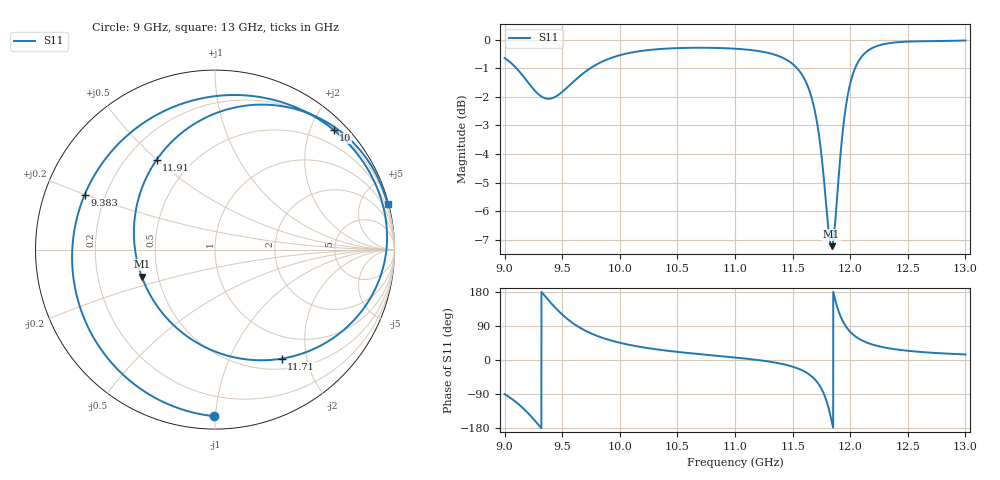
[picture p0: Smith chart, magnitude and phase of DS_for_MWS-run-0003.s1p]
! TOUCHSTONE file generated by CST DESIGN STUDIO
! Date and time: Tue Feb  4 14:19:19 2025
! Project name: C:\Work\MatlabApps\UnitCellOptimizationMatlab\CST\unitcell.cst
! Tree item: Tasks\Sweep1\SPara1\S-Parameters
! Header version: 2024
! Port assignment regex: !\s*Touchstone port\s*([0-9]+)\s*=\s*(CST MWS port|CST DES external port|CST DES block port)\s*(.+)\s* \(\"(.*)\"\)(\s*mode\s*([0-9]+))?.*
! Touchstone port assignment:
! Touchstone port 1 = CST DES external port 1 ("")
# GHz S MA R 50
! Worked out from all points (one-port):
!   4001 points, 9 GHz to 13 GHz, reference 50 ohm
!   lowest |S11| = -7.2 dB at 11.84 GHz (marker M1), VSWR 2.54, Z = 20.2 - j7.48 ohm
!   |S11| at or under -10 dB: nowhere
!   S11 on the Smith chart (normalised r, x): 9 GHz: 0.07, -0.99; 9.383 GHz: 0.12, +0.20; 10 GHz: 0.21, +2.38; 11.71 GHz: 0.65, -1.59; 11.91 GHz: 0.32, +0.50; 13 GHz: 0.11, +7.79
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9  0.9282 -90.2
9.089  0.8968 -108.7
9.17  0.8585 -130.1
9.281  0.8067 -166.4
9.383  0.7879 157.2
9.5  0.8099 120.0
9.606  0.8471 94.4
9.741  0.8901 71.5
10  0.9389 45.4
10.003  0.9392 45.2
10.5  0.9661 21.4
11  0.9638 6.6
11.296  0.9467 -4.2
11.5  0.9064 -17.5
11.625  0.8349 -34.2
11.714  0.7122 -58.5
11.78  0.5464 -95.7
11.808  0.4725 -122.3
11.838  0.4352 -159.8
11.871  0.4831 157.5
11.906  0.5964 123.1
11.949  0.7305 95.3
12  0.8374 74.5
12.077  0.9197 55.8
12.174  0.9621 42.7
12.307  0.9831 32.5
12.5  0.9917 24.3
13  0.9963 14.6
